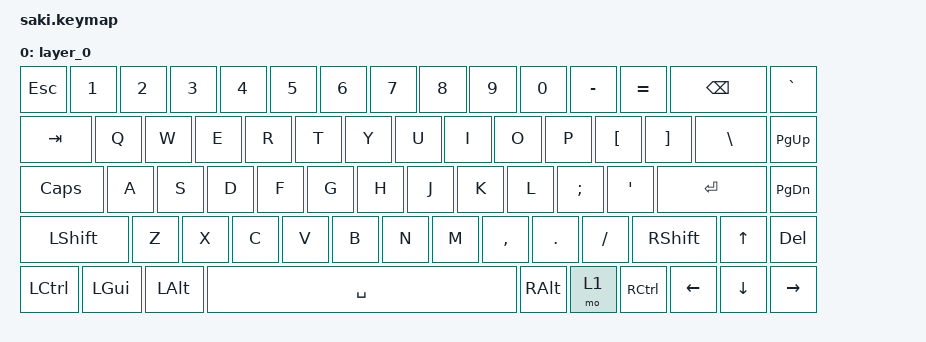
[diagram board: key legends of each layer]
#include <behaviors.dtsi>
#include <dt-bindings/zmk/bt.h>
#include <dt-bindings/zmk/keys.h>
#include <dt-bindings/zmk/pointing.h>

/ {
    keymap {
        compatible = "zmk,keymap";

        layer_0 {
            bindings = <
&kp ESC    &kp N1    &kp N2    &kp N3  &kp N4  &kp N5     &kp N6  &kp N7    &kp N8     &kp N9    &kp N0     &kp MINUS  &kp EQUAL       &kp BSPC   &kp GRAVE
&kp TAB    &kp Q     &kp W     &kp E   &kp R   &kp T      &kp Y   &kp U     &kp I      &kp O     &kp P      &kp LBKT   &kp RBKT        &kp BSLH   &kp PG_UP
&kp CAPS   &kp A     &kp S     &kp D   &kp F   &kp G      &kp H   &kp J     &kp K      &kp L     &kp SEMI   &kp APOS                   &kp ENTER  &kp PG_DN
&kp LSHFT  &kp Z     &kp X     &kp C   &kp V   &kp B      &kp N   &kp M     &kp COMMA  &kp DOT   &kp FSLH              &kp RSHFT       &kp UP     &kp DEL
&kp LCTRL  &kp LGUI  &kp LALT                  &kp SPACE                               &kp RALT  &mo 1      &kp RCTRL  &kp LEFT_ARROW  &kp DOWN   &kp RIGHT
            >;
        };
    };
};

